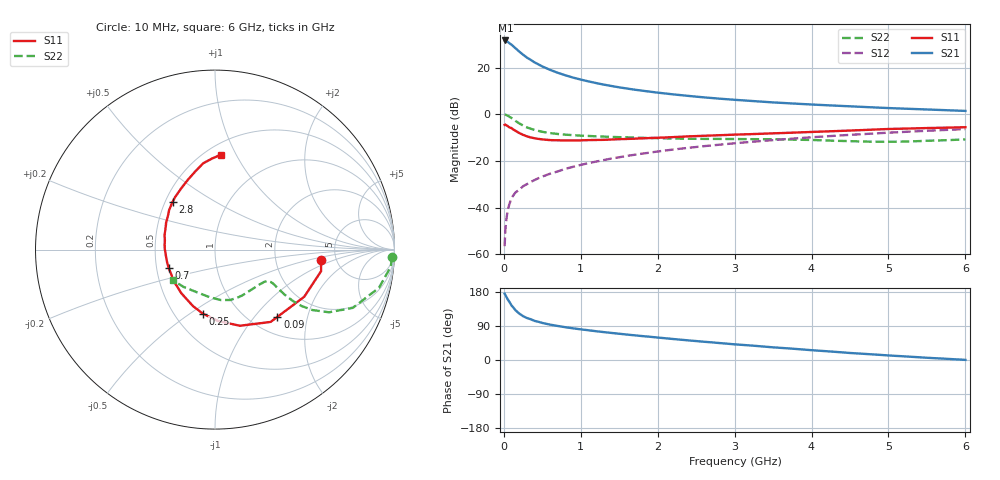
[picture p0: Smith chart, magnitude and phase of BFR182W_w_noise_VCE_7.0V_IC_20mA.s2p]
! Infineon Technologies  Discrete & RF Semiconductors
! BFR182W
! VCE =  7.0 V,  IC =  20 mA
! Common Emitter S-Parameters:  Jan 2017
# GHz  S  MA  R  50
!  f  S11  S21  S12  S22
! GHz  MAG  ANG  MAG  ANG  MAG  ANG  MAG  ANG
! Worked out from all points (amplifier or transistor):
!   77 points, 10 MHz to 6 GHz, reference 50 ohm
!   highest |S21| = 31.6 dB at 20 MHz (marker M1)
!   |S21| within 3 dB of that: start of sweep to 139.9 MHz
!   unconditionally stable (mu >= 1): 851 MHz to 2.351 GHz
!   at 130 MHz: K = 0.42, MSG = 31.7 dB, |S12| = -34.4 dB
!   at 2.2 GHz: K = 1.01, MAG = 11.2 dB, |S12| = -15.1 dB
!   at 6 GHz: K = 0.86, MSG = 3.9 dB, |S12| = -6.3 dB
!   lowest NFmin = 1.41 dB at 450 MHz
!   S11 on the Smith chart (normalised r, x): 10 MHz: 3.79, -0.68; 90 MHz: 1.30, -1.32; 250 MHz: 0.68, -0.56; 700 MHz: 0.58, -0.13; 2.8 GHz: 0.55, +0.33; 6 GHz: 0.59, +0.87
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0.01  0.5938 -5.6  37.98 175.1  0.0015 87.7  0.9866 -2.5
0.02  0.6032 -11.5  38.17 171.5  0.0034 95.6  0.9841 -5.5
0.05  0.5622 -27.9  35.77 160.0  0.0086 76.1  0.9381 -13.1
0.09  0.5112 -47.2  31.74 147.4  0.0145 72.0  0.8525 -20.8
0.1  0.5085 -52.4  31.01 143.8  0.016 71.5  0.8338 -22.9
0.15  0.4464 -71.9  26.16 131.5  0.0211 66.8  0.725 -28.8
0.2  0.3979 -87.6  22.08 122.6  0.0243 65.6  0.6393 -31.8
0.25  0.3635 -100.7  18.94 115.7  0.0288 64.5  0.5745 -33.1
0.3  0.3377 -111.3  16.4 110.8  0.032 64.8  0.5243 -33.4
0.4  0.3071 -127.6  12.92 103.2  0.0392 65.9  0.461 -32.9
0.5  0.2907 -140.4  10.59 97.8  0.0464 67.2  0.4219 -31.9
0.6  0.2803 -150.2  8.972 93.4  0.0534 68.5  0.3965 -31.1
0.7  0.2777 -158.5  7.762 89.8  0.0598 69.5  0.3792 -30.4
0.9  0.2755 -171.6  6.115 83.6  0.0752 70.3  0.3576 -30.2
1.1  0.2803 178.6  5.07 78.5  0.0901 71.1  0.3441 -30.9
1.5  0.2934 162.9  3.784 69.3  0.1202 69.8  0.3242 -34.5
2.1  0.3195 145.9  2.791 57.4  0.1679 66.9  0.3055 -44.2
2.8  0.3566 131.4  2.166 44.8  0.2232 62.1  0.2971 -58.9
3.1  0.3713 125.4  1.993 39.9  0.2477 59.8  0.2947 -65.1
4.1  0.4248 109.3  1.592 24.5  0.3303 51.4  0.2784 -86.1
5.1  0.4893 96.6  1.342 10.8  0.412 42.0  0.259 -116.5
6  0.5292 86.6  1.183 0.3  0.4829 33.0  0.291 -143.9
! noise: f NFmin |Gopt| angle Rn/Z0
0.45  1.41  0.11  -176  0.15
0.9  1.49  0.11  -171  0.15
1.9  2  0.28  -142  0.16
2.4  2.26  0.29  -128  0.26
